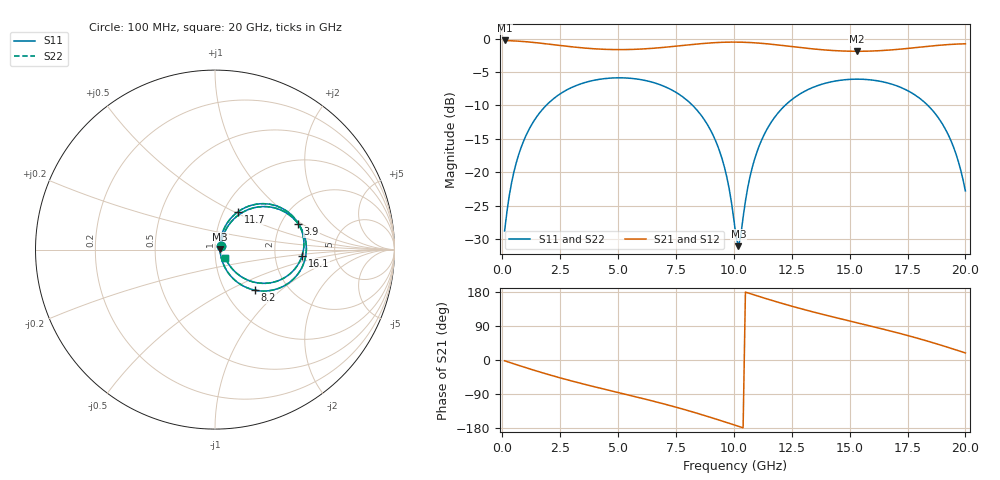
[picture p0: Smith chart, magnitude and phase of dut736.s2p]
! Touchstone file exported from HFSS 2026.1.0
!  File:  C:/ffzhzh/LocalFiles/Ansys_Project_Files/temp_train_TSV_RDL_736_1783203757_51560.aedt
!  Generated:  06:41:12 AM Jul  5, 2026
!  Design:  TSV_RDL
!  Project:  temp_train_TSV_RDL_736_1783203757_51560
! Variables:
!  h_bsmrdl = 4.15um
!  h_ox = 20um
!  h_rdl = 5um
!  h_sub = 91.03um
!  h_tmrdl = 4.32um
!  h_tsv = 91.03um
!  h_via = 3um
!  l_bsmrdl = 475.29um
!  l_sub = 5636.6um
!  l_tmrdl = 917.11um
!  m_sub = 200um
!  pitch = 43.91um
!  r_tsv = 2.69um
!  s_tmrdl = 10um
!  w_bsmrdl = 29.19um
!  w_sub = 500um
!  w_tmrdl = 18.24um
!  x_tsv_center1 = 926.23um
!  x_tsv_center2 = 1430.71um
!  x_tsv_center3 = 2366.06um
!  x_tsv_center4 = 2870.54um
!  x_tsv_center5 = 3805.89um
!  x_tsv_center6 = 4310.37um
# GHz S MA R 50.000000
! Terminal data exported
! Port[1] = TM_RDL1_1_T1
! Port[2] = TM_RDL5_1_T1
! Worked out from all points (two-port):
!   200 points, 100 MHz to 20 GHz, reference 50 ohm
!   highest |S21| = -0.27 dB at 100 MHz (marker M1); lowest = -1.9 dB at 15.3 GHz (marker M2)
!   |S21| within 3 dB of the highest: start of sweep to end of sweep
!   lowest |S11| = -31.1 dB at 10.2 GHz (marker M3), VSWR 1.06, Z = 52.9 + j0.255 ohm
!   |S11| at or under -10 dB: start of sweep to 1.895 GHz; 8.219 GHz to 12.21 GHz (3.993 GHz wide, 39.1 % of centre); 18.38 GHz to end of sweep
!   |S22| runs from -31.1 to -5.9 dB; largest |S21 - S12| = 1.6e-14
!   S11 on the Smith chart (normalised r, x): 100 MHz: 1.06, +0.04; 3.9 GHz: 2.48, +0.93; 8.2 GHz: 1.38, -0.69; 11.7 GHz: 1.17, +0.53; 16.1 GHz: 2.87, -0.25; 20 GHz: 1.12, -0.10
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0.1  0.03623 31.9  0.9698 -2.1  0.9698 -2.1  0.03623 31.9
! Gamma 0 0 0 0
! Port Impedance 50 0 50 0
0.5  0.1 60.5  0.9624 -10.1  0.9624 -10.1  0.1 60.5
1.2  0.2162 57.2  0.9427 -23.8  0.9427 -23.8  0.2162 57.2
2.2  0.3535 42.6  0.9018 -42.0  0.9018 -42.0  0.3535 42.6
3.5  0.4653 23.0  0.8522 -63.3  0.8522 -63.3  0.4654 23.0
3.9  0.4853 17.2  0.8416 -69.5  0.8416 -69.5  0.4853 17.2
5.3  0.5079 -2.5  0.8285 -90.2  0.8285 -90.2  0.508 -2.5
6.8  0.4528 -23.9  0.8554 -113.0  0.8554 -113.0  0.4528 -23.9
8.2  0.3187 -45.2  0.9043 -136.7  0.9043 -136.7  0.3188 -45.3
9.4  0.1411 -60.7  0.938 -159.2  0.938 -159.2  0.1411 -60.7
9.8  0.07484 -57.8  0.9425 -167.1  0.9425 -167.1  0.07487 -57.8
10.1  0.03243 -26.2  0.9428 -173.0  0.9428 -173.0  0.03244 -26.2
10.2  0.02788 5.0  0.9424 -175.0  0.9424 -175.0  0.02789 4.9
10.8  0.1093 66.6  0.9337 173.3  0.9337 173.3  0.1093 66.5
11.7  0.2489 58.5  0.9053 156.2  0.9053 156.2  0.2489 58.4
13.4  0.4304 33.4  0.8388 127.2  0.8388 127.2  0.4304 33.4
15.3  0.4973 7.0  0.8045 98.5  0.8045 98.5  0.4973 7.0
16.1  0.4865 -3.9  0.8099 86.7  0.8099 86.7  0.4865 -3.9
16.7  0.4628 -12.2  0.8213 77.5  0.8213 77.5  0.4628 -12.2
18.8  0.2599 -42.0  0.8904 41.9  0.8904 41.9  0.2599 -42.1
19.5  0.152 -48.1  0.9088 28.5  0.9088 28.5  0.1521 -48.1
20  0.07236 -38.2  0.9151 18.6  0.9151 18.6  0.07242 -38.2
